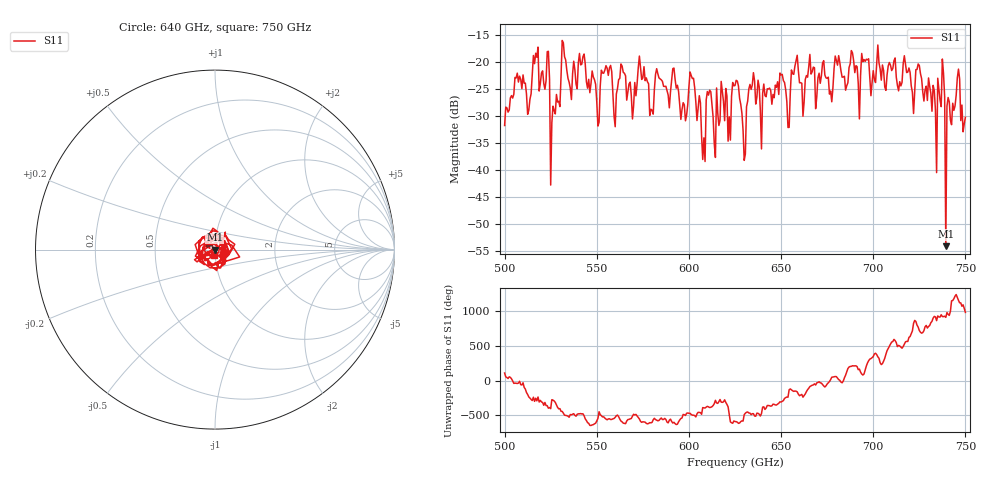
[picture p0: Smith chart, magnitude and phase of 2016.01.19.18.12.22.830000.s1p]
!Created with skrf (http://scikit-rf.org).
# GHz S RI R 50.0
!freq ReS11 ImS11
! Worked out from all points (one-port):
!   401 points, 500 GHz to 750 GHz, reference 50 ohm
!   lowest |S11| = -54.1 dB at 739.4 GHz (marker M1), VSWR 1.00, Z = 49.8 - j0.0404 ohm
!   |S11| at or under -10 dB: start of sweep to end of sweep
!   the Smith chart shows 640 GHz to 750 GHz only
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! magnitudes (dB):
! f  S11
! 500 GHz  -31.8
! 506.9 GHz  -22.1
! 513.1 GHz  -28.9
! 516.9 GHz  -18.4
! 523.1 GHz  -18.1
! 526.2 GHz  -28.2
! 531.2 GHz  -16.0
! 541.9 GHz  -20.4
! 550.6 GHz  -31.9
! 562.5 GHz  -23.0
! 593.8 GHz  -24.3
! 601.9 GHz  -23.1
! 607.5 GHz  -38.1
! 610.6 GHz  -26.1
! 615 GHz  -24.8
! 625 GHz  -24.4
! 630 GHz  -38.2
! 634.4 GHz  -24.3
! 650.6 GHz  -22.3
! 653.8 GHz  -32.1
! 656.2 GHz  -22.2
! 687.5 GHz  -20.4
! 718.8 GHz  -21.9
! 733.1 GHz  -25.3
! 737.5 GHz  -19.5
! 739.4 GHz  -54.1
! 745.6 GHz  -22.9
! 750 GHz  -30.3
